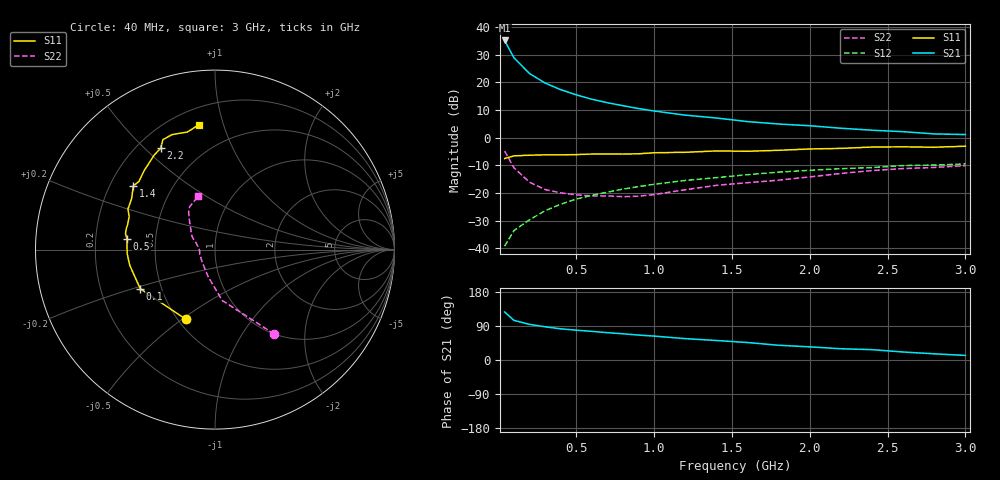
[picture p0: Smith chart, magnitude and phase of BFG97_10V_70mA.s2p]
! Filename:  BFG97H.S2P  Version:  2.0
! Philips part #: BFG97  Date: Jul 1990
! Bias condition: Vce=10V, Ic=70mA
#  MHz  S  MA  R  50
! Freq  S11  S21  S12  S22  !GUM [dB]
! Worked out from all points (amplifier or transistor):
!   21 points, 40 MHz to 3 GHz, reference 50 ohm
!   highest |S21| = 35.1 dB at 40 MHz (marker M1)
!   |S21| within 3 dB of that: start of sweep to 68.77 MHz
!   unconditionally stable (mu >= 1): 195.3 MHz to 2.488 GHz; 2.623 GHz to 2.952 GHz
!   at 300 MHz: K = 1.04, MAG = 21.8 dB, |S12| = -26.4 dB
!   at 1 GHz: K = 1.08, MAG = 11.6 dB, |S12| = -16.8 dB
!   at 3 GHz: K = 0.99, MSG = 5.3 dB, |S12| = -9.5 dB
!   S11 on the Smith chart (normalised r, x): 40 MHz: 0.55, -0.52; 100 MHz: 0.38, -0.21; 500 MHz: 0.34, +0.05; 1.4 GHz: 0.30, +0.32; 2.2 GHz: 0.29, +0.56; 3 GHz: 0.30, +0.84
40  0.421 -112.5  57.02 126.8  0.011 60.6  0.575 -54.9
100  0.47 -152.3  27.74 104.6  0.021 61.0  0.287 -81.8
200  0.483 -169.6  14.4 94.0  0.033 69.8  0.157 -103.7
300  0.49 -177.5  9.723 87.6  0.048 71.9  0.116 -120.3
400  0.49 178.8  7.379 82.3  0.063 71.2  0.101 -134.4
500  0.495 172.9  5.943 78.7  0.078 71.6  0.093 -145.7
600  0.507 169.7  4.95 75.6  0.091 70.7  0.089 -154.2
700  0.508 166.5  4.283 72.1  0.104 70.2  0.089 -163.4
800  0.506 164.4  3.784 69.2  0.118 68.3  0.086 -172.8
900  0.512 159.1  3.367 65.8  0.131 67.8  0.088 178.6
1000  0.535 155.0  3.038 63.1  0.144 65.7  0.094 171.6
1200  0.545 148.4  2.556 56.4  0.169 63.7  0.115 159.1
1400  0.577 142.1  2.27 51.5  0.19 60.2  0.138 153.0
1600  0.569 138.2  1.955 46.1  0.215 58.8  0.154 147.9
1800  0.592 131.6  1.767 38.9  0.239 54.3  0.171 141.3
2000  0.626 122.8  1.644 34.7  0.258 51.7  0.196 135.2
2200  0.641 118.2  1.483 29.7  0.276 49.4  0.226 129.6
2400  0.678 115.3  1.366 27.3  0.289 48.1  0.255 125.2
2600  0.684 110.5  1.284 21.1  0.314 44.0  0.277 120.7
2800  0.673 103.3  1.171 16.3  0.321 39.7  0.29 114.8
3000  0.702 97.1  1.14 12.1  0.336 38.0  0.313 107.2
